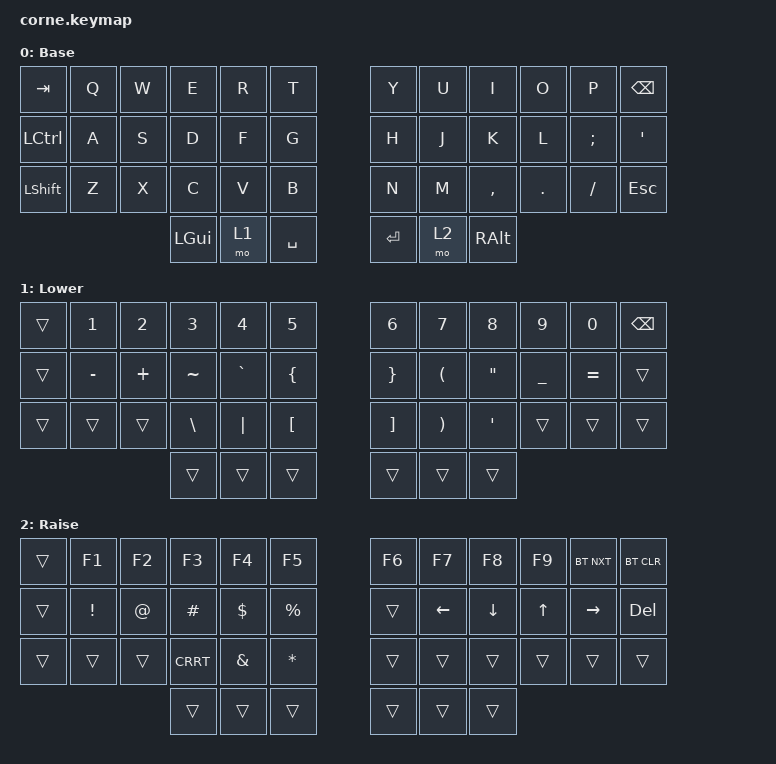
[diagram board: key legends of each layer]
/*
 * Copyright (c) 2020 The ZMK Contributors
 *
 * SPDX-License-Identifier: MIT
 */

#include <behaviors.dtsi>
#include <dt-bindings/zmk/keys.h>
#include <dt-bindings/zmk/bt.h>

/ {
        keymap {
                compatible = "zmk,keymap";

                default_layer {
// -----------------------------------------------------------------------------------------
// |  TAB |  Q  |  W  |  E  |  R  |  T  |   |  Y  |  U   |  I  |  O  |  P  | BKSP |
// | CTRL |  A  |  S  |  D  |  F  |  G  |   |  H  |  J   |  K  |  L  |  ;  |  '   |
// | SHFT |  Z  |  X  |  C  |  V  |  B  |   |  N  |  M   |  ,  |  .  |  /  | ESC  |
//                    | GUI | LWR | SPC |   | ENT | RSE  | ALT |
                        display-name = "Base";
                        bindings = <
   &kp TAB   &kp Q &kp W &kp E &kp R &kp T       &kp Y   &kp U  &kp I     &kp O   &kp P    &kp BSPC
   &kp LCTRL &kp A &kp S &kp D &kp F &kp G       &kp H   &kp J  &kp K     &kp L   &kp SEMI &kp SQT
   &kp LSHFT &kp Z &kp X &kp C &kp V &kp B       &kp N   &kp M  &kp COMMA &kp DOT &kp FSLH &kp ESC
                   &kp LGUI    &mo 1  &kp SPACE   &kp RET &mo 2 &kp RALT
                        >;
                };
                lower_layer {
// -----------------------------------------------------------------------------------------
// |  TAB |  1  |  2  |  3  |  4  |  5  |   |  6  |  7  |  8  |  9  |  0  | BKSP |
// | CTRL |  -  |  +  |  ~  |  `  |  {  |   |  }  |  (  |  "  |  _  |  =  |      |
// | SHFT |     |     |  \  |  |  |  [  |   |  ]  |  )  |  '  |     |     |      |
//                    | GUI |     | SPC |   | ENT |     | ALT |
                        display-name = "Lower";
                        bindings = <
   &trans  &kp N1    &kp N2   &kp N3    &kp N4    &kp N5         &kp N6   &kp N7   &kp N8  &kp N9    &kp N0    &kp BSPC
   &trans  &kp MINUS &kp PLUS &kp TILDE &kp GRAVE &kp LBRC       &kp RBRC &kp LPAR &kp DQT &kp UNDER &kp EQUAL &trans
   &trans  &trans    &trans   &kp BSLH  &kp PIPE  &kp LBKT       &kp RBKT &kp RPAR &kp SQT &trans    &trans    &trans
                              &trans    &trans    &trans         &trans   &trans   &trans
                        >;
                };

                raise_layer {
// -----------------------------------------------------------------------------------------
// |  TAB |  F1 |  F2 |  F3 |  F4 |  F5 |   |  F6 |  F7 |  F8 |  F9 |BT_NXT| BT_CL|
// | CTRL |  !  |  @  |  #  |  $  |  %  |   |     |LEFT | DOWN| UP  |RIGHT | DEL  |
// | SHFT |     |     |  ^  |  &  |  *  |   |     |     |     |     |      |      |
//                    | GUI |     | SPC |   | ENT |     | ALT |
                        display-name = "Raise";
                        bindings = <
   &trans &kp F1   &kp F2  &kp F3    &kp F4   &kp F5         &kp F6 &kp F7   &kp F8   &kp F9 &bt BT_NXT  &bt BT_CLR
   &trans &kp EXCL &kp AT  &kp POUND &kp DLLR &kp PRCNT      &trans &kp LEFT &kp DOWN &kp UP &kp RIGHT   &kp DELETE
   &trans &trans   &trans  &kp CRRT  &kp AMPS &kp ASTRK      &trans &trans   &trans   &trans &trans      &trans
                    	   &trans    &trans   &trans         &trans &trans   &trans
                        >;
                };
        };
};
